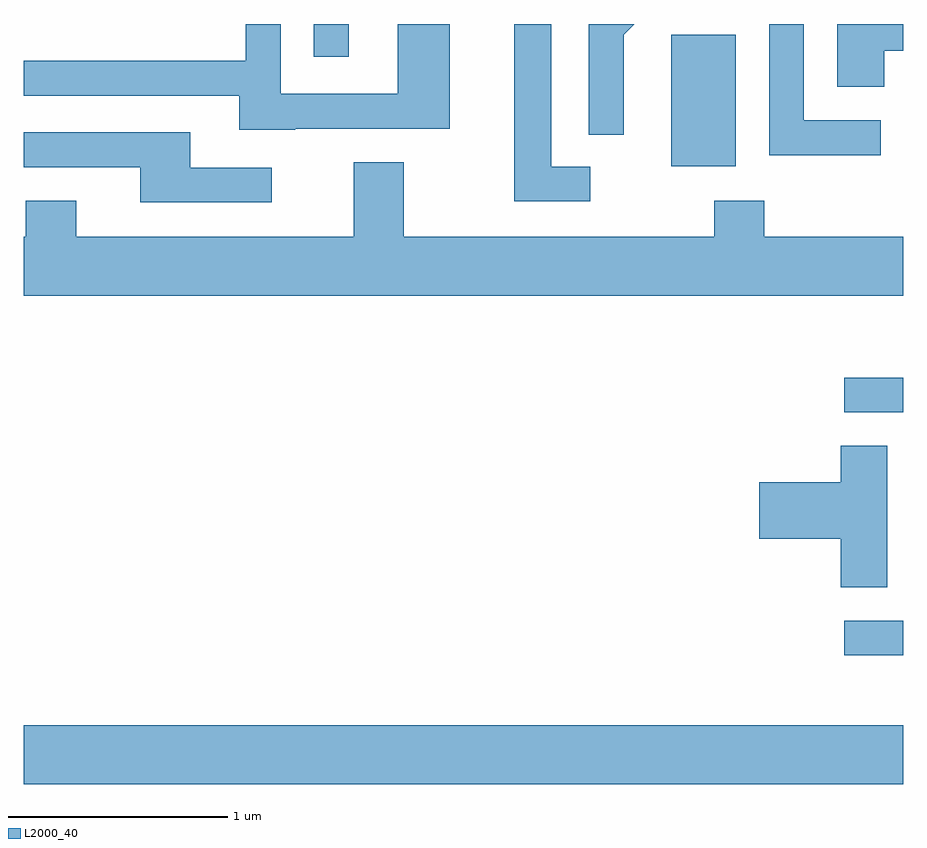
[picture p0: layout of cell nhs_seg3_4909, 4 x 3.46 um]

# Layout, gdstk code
import gdstk
lib = gdstk.Library(unit=1e-6, precision=1e-09)
def R(c, l, rs):  # rectangles x0, y0, x1, y1
    for r in rs: c.add(gdstk.rectangle(r[:2], r[2:], *l))
def P(c, l, *ps):  # polygons
    for p in ps: c.add(gdstk.Polygon(p, *l))
L2000_40 = (2000, 40)

nhs_seg3_4909 = lib.new_cell('nhs_seg3_4909')
R(nhs_seg3_4909, L2000_40, [(329.611,1150.436,333.611,1150.704), (333.343,1151.021,333.611,1151.179), (333.343,1152.126,333.611,1152.284), (332.556,1153.246,332.849,1153.844), (330.931,1153.743,331.089,1153.892), (329.611,1153.891,330.469,1153.892)])
P(nhs_seg3_4909, L2000_40, [(333.524,1153.771),(333.611,1153.771),(333.611,1153.892),(333.311,1153.892),(333.311,1153.606),(333.524,1153.606)],
  [(332.188,1153.244),(332.009,1153.244),(332.009,1153.892),(331.841,1153.892),(331.841,1153.086),(332.188,1153.086)],
  [(330.845,1153.416),(331.549,1153.416),(331.549,1153.892),(331.311,1153.892),(331.311,1153.574),(330.779,1153.574),(330.779,1153.892),(330.621,1153.892),(330.621,1153.724),(329.611,1153.724),(329.611,1153.566),(330.591,1153.566),(330.591,1153.411),(330.845,1153.411)],
  [(333.508,1153.454),(333.159,1153.454),(333.159,1153.892),(333.001,1153.892),(333.001,1153.296),(333.508,1153.296)],
  [(332.339,1153.844),(332.387,1153.892),(332.181,1153.892),(332.181,1153.388),(332.339,1153.388)],
  [(330.738,1153.239),(330.369,1153.239),(330.369,1153.399),(329.611,1153.399),(329.611,1153.241),(330.141,1153.241),(330.141,1153.081),(330.738,1153.081)],
  [(333.611,1152.924),(332.979,1152.924),(332.979,1153.089),(332.751,1153.089),(332.751,1152.924),(331.339,1152.924),(331.339,1153.264),(331.111,1153.264),(331.111,1152.924),(329.849,1152.924),(329.849,1153.089),(329.621,1153.089),(329.621,1152.924),(329.611,1152.924),(329.611,1152.656),(333.611,1152.656)],
  [(333.539,1151.974),(333.326,1151.974),(333.326,1151.809),(332.956,1151.809),(332.956,1151.551),(333.326,1151.551),(333.326,1151.331),(333.539,1151.331)])

lib.write_gds('nhs_seg3_4909.gds')
